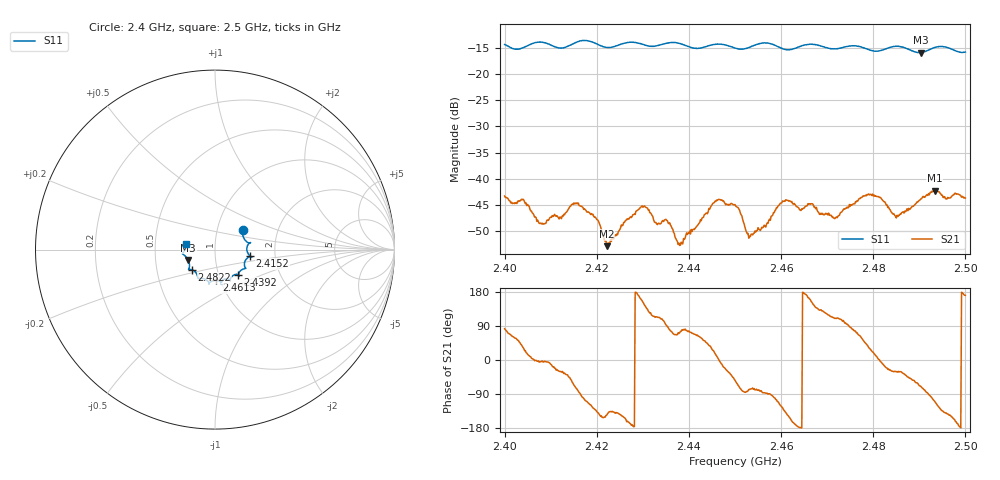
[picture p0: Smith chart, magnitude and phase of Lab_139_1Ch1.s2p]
# Hz S RI R 50
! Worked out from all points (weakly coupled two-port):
!   601 points, 2.4 GHz to 2.5 GHz, reference 50 ohm
!   highest |S21| = -42.28 dB at 2.4933 GHz (marker M1); lowest = -52.9 dB at 2.4222 GHz (marker M2)
!   lowest |S11| = -15.9 dB at 2.4903 GHz (marker M3), VSWR 1.38, Z = 36.8 - j4.41 ohm
!   |S11| at or under -10 dB: start of sweep to end of sweep
!   S12 and S22 are empty: the file has one direction only
!   S11 on the Smith chart (normalised r, x): 2.4 GHz: 1.33, +0.31; 2.4152 GHz: 1.48, -0.11; 2.4392 GHz: 1.23, -0.36; 2.4613 GHz: 0.96, -0.34; 2.4822 GHz: 0.76, -0.17; 2.5 GHz: 0.72, +0.05
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2.4e9  0.1562 0.1113  0.000884 0.00677  0 0  0 0
2.408167e9  0.1975 0.0391  0.00375 -0.000161  0 0  0 0
2.415167e9  0.1945 -0.0359  0.00213 -0.00533  0 0  0 0
2.416667e9  0.2044 -0.0418  -0.000494 -0.00545  0 0  0 0
2.420167e9  0.1878 -0.0421  -0.003 -0.00271  0 0  0 0
2.422167e9  0.1689 -0.0614  -0.00186 -0.00128  0 0  0 0
2.429833e9  0.1606 -0.1073  -0.00505 0.00219  0 0  0 0
2.433333e9  0.133 -0.1324  -0.00142 0.00346  0 0  0 0
2.439167e9  0.127 -0.1388  0.000389 0.00267  0 0  0 0
2.446e9  0.0848 -0.1737  0.00613 0.00114  0 0  0 0
2.45e9  0.0686 -0.1636  0.00336 -0.00454  0 0  0 0
2.4535e9  0.0362 -0.1793  0.000692 -0.00286  0 0  0 0
2.461333e9  0.0078 -0.1705  -0.00505 -0.00359  0 0  0 0
2.466667e9  -0.0332 -0.1901  -0.00511 0.00265  0 0  0 0
2.471833e9  -0.0636 -0.1621  -0.00146 0.00398  0 0  0 0
2.478333e9  -0.0979 -0.1458  0.00496 0.00486  0 0  0 0
2.482167e9  -0.1284 -0.1123  0.00601 -0.00123  0 0  0 0
2.483333e9  -0.1396 -0.1106  0.00488 -0.00217  0 0  0 0
2.485333e9  -0.1476 -0.1105  0.00368 -0.0023  0 0  0 0
2.490333e9  -0.1493 -0.0584  0.00221 -0.006  0 0  0 0
2.493333e9  -0.1776 -0.0264  -0.00251 -0.00727  0 0  0 0
2.5e9  -0.1588 0.0339  -0.00643 0.00109  0 0  0 0
